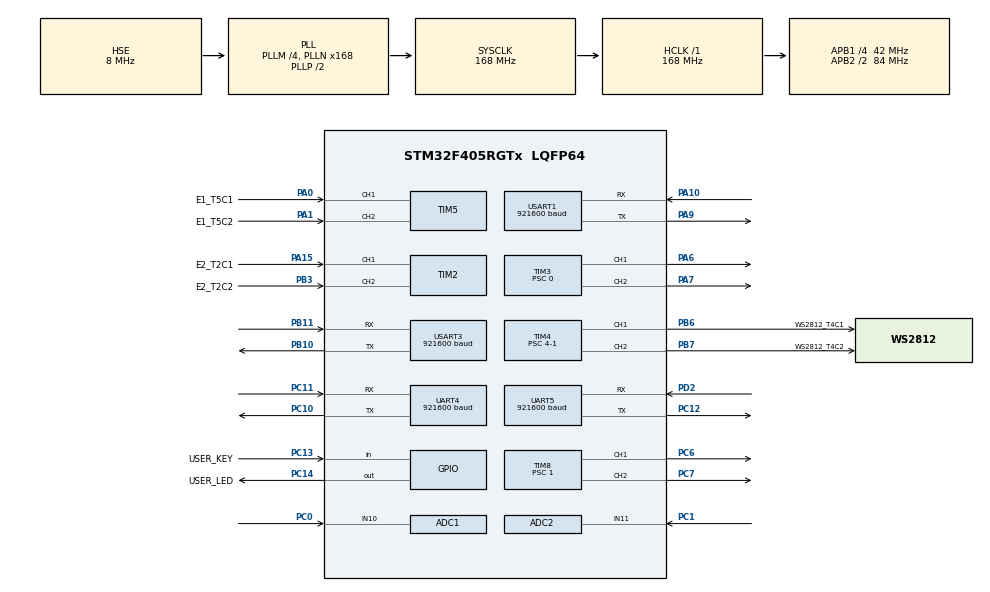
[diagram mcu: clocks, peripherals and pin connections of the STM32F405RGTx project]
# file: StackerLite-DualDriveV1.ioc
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ADC1.Channel-0\#ChannelRegularConversion=ADC_CHANNEL_10
ADC1.DMAContinuousRequests=ENABLE
ADC1.ExternalTrigConv=ADC_EXTERNALTRIGCONV_T3_TRGO
ADC1.NbrOfConversion=1
ADC1.NbrOfConversionFlag=1
ADC1.Rank-0\#ChannelRegularConversion=1
ADC1.SamplingTime-0\#ChannelRegularConversion=ADC_SAMPLETIME_56CYCLES
ADC1.master=1
ADC2.Channel-1\#ChannelRegularConversion=ADC_CHANNEL_11
ADC2.DMAContinuousRequests=ENABLE
ADC2.ExternalTrigConv=ADC_EXTERNALTRIGCONV_T8_TRGO
ADC2.NbrOfConversionFlag=1
ADC2.Rank-1\#ChannelRegularConversion=1
ADC2.SamplingTime-1\#ChannelRegularConversion=ADC_SAMPLETIME_56CYCLES
Dma.ADC1.2.Direction=DMA_PERIPH_TO_MEMORY
Dma.ADC1.2.FIFOMode=DMA_FIFOMODE_DISABLE
Dma.ADC1.2.Instance=DMA2_Stream0
Dma.ADC1.2.MemDataAlignment=DMA_MDATAALIGN_HALFWORD
Dma.ADC1.2.MemInc=DMA_MINC_ENABLE
Dma.ADC1.2.Mode=DMA_CIRCULAR
Dma.ADC1.2.PeriphDataAlignment=DMA_PDATAALIGN_HALFWORD
Dma.ADC1.2.PeriphInc=DMA_PINC_DISABLE
Dma.ADC1.2.Priority=DMA_PRIORITY_LOW
Dma.ADC2.3.Direction=DMA_PERIPH_TO_MEMORY
Dma.ADC2.3.FIFOMode=DMA_FIFOMODE_DISABLE
Dma.ADC2.3.Instance=DMA2_Stream2
Dma.ADC2.3.MemDataAlignment=DMA_MDATAALIGN_HALFWORD
Dma.ADC2.3.MemInc=DMA_MINC_ENABLE
Dma.ADC2.3.Mode=DMA_CIRCULAR
Dma.ADC2.3.PeriphDataAlignment=DMA_PDATAALIGN_HALFWORD
Dma.ADC2.3.PeriphInc=DMA_PINC_DISABLE
Dma.ADC2.3.Priority=DMA_PRIORITY_LOW
Dma.Request0=TIM4_CH1
Dma.Request1=TIM4_CH2
Dma.Request2=ADC1
Dma.Request3=ADC2
Dma.Request4=USART3_RX
Dma.Request5=USART1_RX
Dma.Request6=USART1_TX
Dma.TIM4_CH1.0.Direction=DMA_MEMORY_TO_PERIPH
Dma.TIM4_CH1.0.FIFOMode=DMA_FIFOMODE_DISABLE
Dma.TIM4_CH1.0.Instance=DMA1_Stream0
Dma.TIM4_CH1.0.MemDataAlignment=DMA_MDATAALIGN_HALFWORD
Dma.TIM4_CH1.0.MemInc=DMA_MINC_ENABLE
Dma.TIM4_CH1.0.Mode=DMA_NORMAL
Dma.TIM4_CH1.0.PeriphDataAlignment=DMA_PDATAALIGN_HALFWORD
Dma.TIM4_CH1.0.PeriphInc=DMA_PINC_DISABLE
Dma.TIM4_CH1.0.Priority=DMA_PRIORITY_LOW
Dma.TIM4_CH2.1.Direction=DMA_MEMORY_TO_PERIPH
Dma.TIM4_CH2.1.FIFOMode=DMA_FIFOMODE_DISABLE
Dma.TIM4_CH2.1.Instance=DMA1_Stream3
Dma.TIM4_CH2.1.MemDataAlignment=DMA_MDATAALIGN_HALFWORD
Dma.TIM4_CH2.1.MemInc=DMA_MINC_ENABLE
Dma.TIM4_CH2.1.Mode=DMA_NORMAL
Dma.TIM4_CH2.1.PeriphDataAlignment=DMA_PDATAALIGN_HALFWORD
Dma.TIM4_CH2.1.PeriphInc=DMA_PINC_DISABLE
Dma.TIM4_CH2.1.Priority=DMA_PRIORITY_LOW
Dma.USART1_RX.5.Direction=DMA_PERIPH_TO_MEMORY
Dma.USART1_RX.5.FIFOMode=DMA_FIFOMODE_DISABLE
Dma.USART1_RX.5.Instance=DMA2_Stream5
Dma.USART1_RX.5.MemDataAlignment=DMA_MDATAALIGN_BYTE
Dma.USART1_RX.5.MemInc=DMA_MINC_ENABLE
Dma.USART1_RX.5.Mode=DMA_NORMAL
Dma.USART1_RX.5.PeriphDataAlignment=DMA_PDATAALIGN_BYTE
Dma.USART1_RX.5.PeriphInc=DMA_PINC_DISABLE
Dma.USART1_RX.5.Priority=DMA_PRIORITY_LOW
Dma.USART1_TX.6.Direction=DMA_MEMORY_TO_PERIPH
Dma.USART1_TX.6.FIFOMode=DMA_FIFOMODE_DISABLE
Dma.USART1_TX.6.Instance=DMA2_Stream7
Dma.USART1_TX.6.MemDataAlignment=DMA_MDATAALIGN_BYTE
Dma.USART1_TX.6.MemInc=DMA_MINC_ENABLE
Dma.USART1_TX.6.Mode=DMA_NORMAL
Dma.USART1_TX.6.PeriphDataAlignment=DMA_PDATAALIGN_BYTE
Dma.USART1_TX.6.PeriphInc=DMA_PINC_DISABLE
Dma.USART1_TX.6.Priority=DMA_PRIORITY_LOW
Dma.USART3_RX.4.Direction=DMA_PERIPH_TO_MEMORY
Dma.USART3_RX.4.FIFOMode=DMA_FIFOMODE_DISABLE
Dma.USART3_RX.4.Instance=DMA1_Stream1
Dma.USART3_RX.4.MemDataAlignment=DMA_MDATAALIGN_BYTE
Dma.USART3_RX.4.MemInc=DMA_MINC_ENABLE
Dma.USART3_RX.4.Mode=DMA_NORMAL
Dma.USART3_RX.4.PeriphDataAlignment=DMA_PDATAALIGN_BYTE
Dma.USART3_RX.4.PeriphInc=DMA_PINC_DISABLE
Dma.USART3_RX.4.Priority=DMA_PRIORITY_MEDIUM
Mcu.Family=STM32F4
Mcu.Name=STM32F405RGTx
Mcu.Package=LQFP64
NVIC.DMA1_Stream0_IRQn=true\:0\:0\:false\:false\:true\:false\:true\:true
NVIC.DMA1_Stream1_IRQn=true\:0\:0\:false\:false\:true\:false\:true\:true
NVIC.DMA1_Stream3_IRQn=true\:0\:0\:false\:false\:true\:false\:true\:true
NVIC.DMA2_Stream0_IRQn=true\:0\:0\:false\:false\:true\:false\:true\:true
NVIC.DMA2_Stream2_IRQn=true\:0\:0\:false\:false\:true\:false\:true\:true
NVIC.DMA2_Stream5_IRQn=true\:0\:0\:false\:false\:true\:true\:true\:true
NVIC.DMA2_Stream7_IRQn=true\:0\:0\:false\:false\:true\:true\:true\:true
NVIC.PriorityGroup=NVIC_PRIORITYGROUP_4
NVIC.TIM7_IRQn=true\:0\:0\:false\:false\:true\:true\:true\:true
NVIC.USART1_IRQn=true\:0\:0\:false\:false\:true\:true\:true\:true
NVIC.USART3_IRQn=true\:0\:0\:false\:false\:true\:true\:true\:true
PA0-WKUP.GPIO_Label=E1_T5C1
PA0-WKUP.Signal=S_TIM5_CH1
PA1.GPIO_Label=E1_T5C2
PA1.Signal=S_TIM5_CH2
PA10.Mode=Asynchronous
PA10.Signal=USART1_RX
PA13.Mode=Serial_Wire
PA13.Signal=SYS_JTMS-SWDIO
PA14.Mode=Serial_Wire
PA14.Signal=SYS_JTCK-SWCLK
PA15.GPIO_Label=E2_T2C1
PA15.Signal=S_TIM2_CH1_ETR
PA6.Signal=S_TIM3_CH1
PA7.Signal=S_TIM3_CH2
PA9.Mode=Asynchronous
PA9.Signal=USART1_TX
PB10.Mode=Asynchronous
PB10.Signal=USART3_TX
PB11.Mode=Asynchronous
PB11.Signal=USART3_RX
PB3.GPIO_Label=E2_T2C2
PB3.Signal=S_TIM2_CH2
PB6.GPIO_Label=WS2812_T4C1
PB6.Signal=S_TIM4_CH1
PB7.GPIO_Label=WS2812_T4C2
PB7.Signal=S_TIM4_CH2
PC0.Signal=ADCx_IN10
PC1.Signal=ADCx_IN11
PC10.Mode=Asynchronous
PC10.Signal=UART4_TX
PC11.Mode=Asynchronous
PC11.Signal=UART4_RX
PC12.Mode=Asynchronous
PC12.Signal=UART5_TX
PC13-ANTI_TAMP.GPIO_Label=USER_KEY
PC13-ANTI_TAMP.Signal=GPIO_Input
PC14-OSC32_IN.GPIO_Label=USER_LED
PC14-OSC32_IN.Signal=GPIO_Output
PC2.Signal=ADCx_IN12
PC6.Signal=S_TIM8_CH1
PC7.Signal=S_TIM8_CH2
PD2.Mode=Asynchronous
PD2.Signal=UART5_RX
PH0-OSC_IN.Mode=HSE-External-Oscillator
PH0-OSC_IN.Signal=RCC_OSC_IN
PH1-OSC_OUT.Mode=HSE-External-Oscillator
PH1-OSC_OUT.Signal=RCC_OSC_OUT
ProjectManager.HeapSize=0x200
ProjectManager.StackSize=0x400
ProjectManager.TargetToolchain=MDK-ARM V5.32
RCC.48MHZClocksFreq_Value=84000000
RCC.AHBFreq_Value=168000000
RCC.APB1CLKDivider=RCC_HCLK_DIV4
RCC.APB1Freq_Value=42000000
RCC.APB1TimFreq_Value=84000000
RCC.APB2CLKDivider=RCC_HCLK_DIV2
RCC.APB2Freq_Value=84000000
RCC.APB2TimFreq_Value=168000000
RCC.CortexFreq_Value=168000000
RCC.HCLKFreq_Value=168000000
RCC.HSE_VALUE=8000000
RCC.HSI_VALUE=16000000
RCC.LSE_VALUE=32768
RCC.PLLM=4
RCC.PLLN=168
RCC.PLLSourceVirtual=RCC_PLLSOURCE_HSE
RCC.SYSCLKFreq_VALUE=168000000
RCC.SYSCLKSource=RCC_SYSCLKSOURCE_PLLCLK
RCC.VCOOutputFreq_Value=336000000
SH.ADCx_IN10.0=ADC1_IN10,IN10
SH.ADCx_IN11.0=ADC2_IN11,IN11
SH.ADCx_IN12.0=ADC1_IN12
SH.S_TIM2_CH1_ETR.0=TIM2_CH1,Encoder_Interface
SH.S_TIM2_CH2.0=TIM2_CH2,Encoder_Interface
SH.S_TIM3_CH1.0=TIM3_CH1,PWM Generation1 CH1
SH.S_TIM3_CH2.0=TIM3_CH2,PWM Generation2 CH2
SH.S_TIM4_CH1.0=TIM4_CH1,PWM Generation1 CH1
SH.S_TIM4_CH2.0=TIM4_CH2,PWM Generation2 CH2
SH.S_TIM5_CH1.0=TIM5_CH1,Encoder_Interface
SH.S_TIM5_CH2.0=TIM5_CH2,Encoder_Interface
SH.S_TIM8_CH1.0=TIM8_CH1,PWM Generation1 CH1
SH.S_TIM8_CH2.0=TIM8_CH2,PWM Generation2 CH2
TIM2.EncoderMode=TIM_ENCODERMODE_TI12
TIM3.Channel-PWM\ Generation1\ CH1=TIM_CHANNEL_1
TIM3.Channel-PWM\ Generation2\ CH2=TIM_CHANNEL_2
TIM3.CounterMode=TIM_COUNTERMODE_CENTERALIGNED1
TIM3.Period=4200-1
TIM3.Prescaler=0
TIM3.TIM_MasterOutputTrigger=TIM_TRGO_UPDATE
TIM4.Channel-PWM\ Generation1\ CH1=TIM_CHANNEL_1
TIM4.Channel-PWM\ Generation2\ CH2=TIM_CHANNEL_2
TIM4.Period=26-1
TIM4.Prescaler=4-1
TIM4.Pulse-PWM\ Generation1\ CH1=6
TIM4.Pulse-PWM\ Generation2\ CH2=6
TIM5.EncoderMode=TIM_ENCODERMODE_TI12
TIM7.Period=1000-1
TIM7.Prescaler=84-1
TIM8.Channel-PWM\ Generation1\ CH1=TIM_CHANNEL_1
TIM8.Channel-PWM\ Generation2\ CH2=TIM_CHANNEL_2
TIM8.CounterMode=TIM_COUNTERMODE_CENTERALIGNED1
TIM8.Period=4200-1
TIM8.Prescaler=1
TIM8.TIM_MasterOutputTrigger=TIM_TRGO_UPDATE
UART4.BaudRate=921600
UART4.VirtualMode=Asynchronous
UART5.BaudRate=921600
UART5.VirtualMode=Asynchronous
USART1.BaudRate=921600
USART1.VirtualMode=VM_ASYNC
USART3.BaudRate=921600
USART3.VirtualMode=VM_ASYNC
VP_TIM3_VS_ClockSourceINT.Mode=Internal
VP_TIM4_VS_ClockSourceINT.Mode=Internal
VP_TIM7_VS_ClockSourceINT.Mode=Enable_Timer
VP_TIM8_VS_ClockSourceINT.Mode=Internal
board=custom

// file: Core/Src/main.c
/* USER CODE BEGIN Header */
/**
 ******************************************************************************
 * @file           : main.c
 * @brief          : Main program body
 ******************************************************************************
 * @attention
 *
 * Copyright (c) 2022 STMicroelectronics.
 * All rights reserved.
 *
 * This software is licensed under terms that can be found in the LICENSE file
 * in the root directory of this software component.
 * If no LICENSE file comes with this software, it is provided AS-IS.
 *
 ******************************************************************************
 */
/* USER CODE END Header */
#include "main.h"
#include "adc.h"
#include "dma.h"
#include "tim.h"
#include "usart.h"
#include "gpio.h"

/* USER CODE BEGIN Includes */
#include "stdio.h"
#include "ifr-scope_device.h"
#include "StackLiteDualDrive.h"
#include "rtwtypes.h"

/* USER CODE END Includes */

/* USER CODE BEGIN PV */
extern volatile uint32_t simulinkRunFlag[2];
uint32_t simulinkOverrunCount= 0;
//When the step funtion runs out of cycle time, simulinkRunFlag>1, and simulinkOverrunCount will increase.
extern int16_t HI226_Angle[3];
extern int16_t HI226_AngleV[3];
extern uint16_t adc_rawvalue[2][5];
volatile uint16_t adc1_DMAData[10]= { 0 };

volatile uint16_t adc2_DMAData[10]= { 0 };

uint8_t Uart3DMABuffer[UART3DMA_RXBUFFER_SIZE]= { 0 };

int32_t time2_enc[2]= { 0 };

int32_t time5_enc[2]= { 0 };

int32_t motor1_speed= 0;
int32_t motor2_speed= 0;
unsigned int time_5ms_count= 0;
int16_t motor1_PwmData= 0;
int16_t motor2_PwmData= 0;
uint8_t led_data= 0;
uint8_t ws2812_data[3]= { 0 };
uint16_t pwm4_1_DMAData[WS2812_NUMS*3*8+1]={0};
uint16_t pwm4_2_DMAData[WS2812_NUMS*3*8+1]={0};
/* USER CODE END PV */

void SystemClock_Config(void);
/* USER CODE BEGIN PFP */
static inline void simulinkInputRefresh(void);
static inline void simulinkOutputProcess(void);

/* USER CODE END PFP */

/* USER CODE BEGIN 0 */
int32_t adcrunfreq[2]={0};
extern uint16_t HI226_FreqCount;
uint16_t HI226_Freq=0;
void timer_5ms_callback(void)
{
  time_5ms_count++;
  if (time_5ms_count%200==0) {
	  adcrunfreq[0]=simulinkRunFlag[0];
	  adcrunfreq[1]=simulinkRunFlag[1];
	  simulinkRunFlag[0]= 0;
	  simulinkRunFlag[1]= 0;
	  HI226_Freq= HI226_FreqCount;
	  HI226_FreqCount=0;
    //HAL_GPIO_TogglePin(USER_LED_GPIO_Port,USER_LED_Pin);
  }

  if (time_5ms_count%2==0) {
    time2_enc[0]= (int32_t)(__HAL_TIM_GetCounter(&htim2));
    time5_enc[0]= (int32_t)(__HAL_TIM_GetCounter(&htim5));
    motor1_speed= time5_enc[0]-time5_enc[1];
    motor2_speed= time2_enc[0]-time2_enc[1];
    time5_enc[1]= time5_enc[0];
    time2_enc[1]= time2_enc[0];
  }
  IFR_Scope_Main();
}

static inline void simulinkInputRefresh(void)
{
  //__disable_irq();  /* Disable global interrupt, Access to the critical zone*/

  //__enable_irq();    /*  Enable global interrupt */
}

static inline void simulinkOutputProcess(void)
{
  motor1_PwmData= motor1_PwmData>4200?4200:motor1_PwmData;
  motor1_PwmData= motor1_PwmData<-4200?-4200:motor1_PwmData;
  if (motor1_PwmData>0)                //forward T9C1(IN1)=1 T9C2(IN2)=0
  {                                    //low decay
    __HAL_TIM_SetCompare(&htim3, TIM_CHANNEL_2, 4200);
    __HAL_TIM_SetCompare(&htim3, TIM_CHANNEL_1, 4200-motor1_PwmData);
  } else {
    __HAL_TIM_SetCompare(&htim3, TIM_CHANNEL_1, 4200);
    __HAL_TIM_SetCompare(&htim3, TIM_CHANNEL_2, 4200+motor1_PwmData);
  }

  motor2_PwmData= motor2_PwmData>4200?4200:motor2_PwmData;
  motor2_PwmData= motor2_PwmData<-4200?-4200:motor2_PwmData;
  if (motor2_PwmData>0)                //forward T9C1(IN1)=1 T9C2(IN2)=0
  {                                    //low decay
    __HAL_TIM_SetCompare(&htim8, TIM_CHANNEL_2, 4200);
    __HAL_TIM_SetCompare(&htim8, TIM_CHANNEL_1, 4200-motor2_PwmData);
  } else {
    __HAL_TIM_SetCompare(&htim8, TIM_CHANNEL_1, 4200);
    __HAL_TIM_SetCompare(&htim8, TIM_CHANNEL_2, 4200+motor2_PwmData);
  }

  //	if(motor1_PwmData>0)	//forward T9C1(IN1)=1 T9C2(IN2)=0
  //	{//fast decay
  //		__HAL_TIM_SetCompare(&htim3, TIM_CHANNEL_2, 0);
  //		__HAL_TIM_SetCompare(&htim3, TIM_CHANNEL_1, motor1_PwmData);
  //	}
  //	else
  //	{
  //		__HAL_TIM_SetCompare(&htim3, TIM_CHANNEL_1, 0);
  //		__HAL_TIM_SetCompare(&htim3, TIM_CHANNEL_2, -motor1_PwmData);
  //	}
}

uint8_t UpdateColorToBit(uint8_t colors[][3],uint16_t dmabuffer[],uint16_t led_nums)	//GRB ????	//PWM2_1
{
	if(led_nums>WS2812_NUMS)	return false;
	for(int i=0;i<led_nums;i++)
	{
		for(int channel=WS2812_GREEN;channel<WS2812_BLUE+1;channel++)	//???for??????
		{
			for(int bit=7;bit>=0;bit--)
			{
				dmabuffer[i*24+channel*8+(7-bit)]=WS2812BitDef[*(colors[i] + channel)>>bit&0x01];
			}
		}
	}
	dmabuffer[led_nums*24]=0;
	//Pwm3_1_Dmasetcounter=led_nums*24+1;
	return true;
}

void pwmdma_testinit(void)
{
	uint8_t color[2][3]={100,0,0,0,100,0};
	UpdateColorToBit(color,pwm4_1_DMAData,2);
	UpdateColorToBit(color,pwm4_2_DMAData,2);
}
/* USER CODE END 0 */

int main(void)
{

  /* MCU Configuration--------------------------------------------------------*/

  /* Reset of all peripherals, Initializes the Flash interface and the Systick. */
  HAL_Init();

  /* Configure the system clock */
  SystemClock_Config();

  /* Initialize all configured peripherals */
  MX_GPIO_Init();
  MX_DMA_Init();
  MX_UART5_Init();
  MX_USART3_UART_Init();
  MX_TIM2_Init();
  MX_TIM3_Init();
  MX_TIM5_Init();
  MX_TIM8_Init();
  MX_TIM4_Init();
  MX_USART1_UART_Init();
  MX_UART4_Init();
  MX_TIM7_Init();
  MX_ADC1_Init();
  MX_ADC2_Init();
  /* USER CODE BEGIN 2 */
  //HAL_TIM_PWM_Start(&htim4,TIM_CHANNEL_1);	//no dma test
  //HAL_TIM_PWM_Start(&htim4,TIM_CHANNEL_2);
  //__HAL_TIM_SetCompare(&htim4,TIM_CHANNEL_1,13);//6->0;13->1
  //__HAL_TIM_SetCompare(&htim4,TIM_CHANNEL_2,13);//6->0;13->1
  HAL_TIM_PWM_Start(&htim3,TIM_CHANNEL_1);
  HAL_TIM_PWM_Start(&htim3,TIM_CHANNEL_2);
  __HAL_TIM_SetCompare(&htim3,TIM_CHANNEL_1,0);//0->0v;100->3.3v
  __HAL_TIM_SetCompare(&htim3,TIM_CHANNEL_2,0);//0->0v;100->3.3v
  HAL_TIM_PWM_Start(&htim8,TIM_CHANNEL_1);
  HAL_TIM_PWM_Start(&htim8,TIM_CHANNEL_2);
  __HAL_TIM_SetCompare(&htim8,TIM_CHANNEL_1,0);//0->0v;100->3.3v
  __HAL_TIM_SetCompare(&htim8,TIM_CHANNEL_2,0);//0->0v;100->3.3v
  __HAL_TIM_SetCounter(&htim3,0);//Synchronisation
  __HAL_TIM_SetCounter(&htim8,0);
  HAL_ADC_Start_DMA(&hadc1,(uint32_t *)adc1_DMAData,10);
  HAL_ADC_Start_DMA(&hadc2,(uint32_t *)adc2_DMAData,10);
  HAL_TIM_Encoder_Start(&htim2,TIM_CHANNEL_ALL);
  HAL_TIM_Encoder_Start(&htim5,TIM_CHANNEL_ALL);
  HAL_Delay(10);
  USER_ADC_Zero_calibration();
pwmdma_testinit();
  HAL_TIM_Base_Start_IT(&htim7);//5 ms time trigger

  //HAL_UART_Receive_DMA(&huart3,Uart3DMABuffer,UART3DMA_RXBUFFER_SIZE);
  /* USER CODE END 2 */

  /* Infinite loop */
  /* USER CODE BEGIN WHILE */
  StackLiteDualDrive_initialize();
  while (1) {
    //HAL_Delay(10);
	//HAL_TIM_PWM_Start_DMA(&htim4, TIM_CHANNEL_1,(uint32_t*)pwm4_1_DMAData,2*24+1);/* nabling DMA transfer on TIM1 channel 1 */
	//HAL_TIM_PWM_Start_DMA(&htim4, TIM_CHANNEL_2,(uint32_t*)pwm4_2_DMAData,2*24+1);/* nabling DMA transfer on TIM1 channel 1 */
	//HAL_DMA_Start(htim4.hdma[TIM_DMA_ID_CC1], (uint32_t)pwm4_1_DMAData, (uint32_t)htim4.Instance->CCR1,2*24+1);
	//HAL_DMA_Start(htim4.hdma[TIM_DMA_ID_CC2], (uint32_t)pwm4_2_DMAData, (uint32_t)htim4.Instance->CCR2,2*24+1);
	//__HAL_TIM_ENABLE_DMA(&htim4, TIM_DMA_CC1);
	//__HAL_TIM_ENABLE_DMA(&htim4, TIM_DMA_CC2);
	//TIM_CCxChannelCmd(htim4.Instance, TIM_CHANNEL_1, TIM_CCx_ENABLE);
	//TIM_CCxChannelCmd(htim4.Instance, TIM_CHANNEL_2, TIM_CCx_ENABLE);
    /* USER CODE END WHILE */

    /* USER CODE BEGIN 3 */
    if (simulinkRunFlag[0]>0&&simulinkRunFlag[1]>0) {
      if (simulinkRunFlag[0]>1||simulinkRunFlag[1]>1)//step funtion run time end
      {
        simulinkOverrunCount++;
                      //when step time for start to end more than 0.1ms, count++
      }

      simulinkRunFlag[0]= 0;           //step funtion run time start
      simulinkRunFlag[1]= 0;           //step funtion run time start
      simulinkInputRefresh();
      StackLiteDualDrive_step();
      simulinkOutputProcess();
    }
  }

  /* USER CODE END 3 */
}

void SystemClock_Config(void)
{
  RCC_OscInitTypeDef RCC_OscInitStruct = {0};
  RCC_ClkInitTypeDef RCC_ClkInitStruct = {0};

  /** Configure the main internal regulator output voltage
  */
  __HAL_RCC_PWR_CLK_ENABLE();
  __HAL_PWR_VOLTAGESCALING_CONFIG(PWR_REGULATOR_VOLTAGE_SCALE1);

  /** Initializes the RCC Oscillators according to the specified parameters
  * in the RCC_OscInitTypeDef structure.
  */
  RCC_OscInitStruct.OscillatorType = RCC_OSCILLATORTYPE_HSE;
  RCC_OscInitStruct.HSEState = RCC_HSE_ON;
  RCC_OscInitStruct.PLL.PLLState = RCC_PLL_ON;
  RCC_OscInitStruct.PLL.PLLSource = RCC_PLLSOURCE_HSE;
  RCC_OscInitStruct.PLL.PLLM = 4;
  RCC_OscInitStruct.PLL.PLLN = 168;
  RCC_OscInitStruct.PLL.PLLP = RCC_PLLP_DIV2;
  RCC_OscInitStruct.PLL.PLLQ = 4;
  if (HAL_RCC_OscConfig(&RCC_OscInitStruct) != HAL_OK)
  {
    Error_Handler();
  }

  /** Initializes the CPU, AHB and APB buses clocks
  */
  RCC_ClkInitStruct.ClockType = RCC_CLOCKTYPE_HCLK|RCC_CLOCKTYPE_SYSCLK
                              |RCC_CLOCKTYPE_PCLK1|RCC_CLOCKTYPE_PCLK2;
  RCC_ClkInitStruct.SYSCLKSource = RCC_SYSCLKSOURCE_PLLCLK;
  RCC_ClkInitStruct.AHBCLKDivider = RCC_SYSCLK_DIV1;
  RCC_ClkInitStruct.APB1CLKDivider = RCC_HCLK_DIV4;
  RCC_ClkInitStruct.APB2CLKDivider = RCC_HCLK_DIV2;

  if (HAL_RCC_ClockConfig(&RCC_ClkInitStruct, FLASH_LATENCY_5) != HAL_OK)
  {
    Error_Handler();
  }
}

void Error_Handler(void)
{
  __disable_irq();
  while (1) {
  }
}
